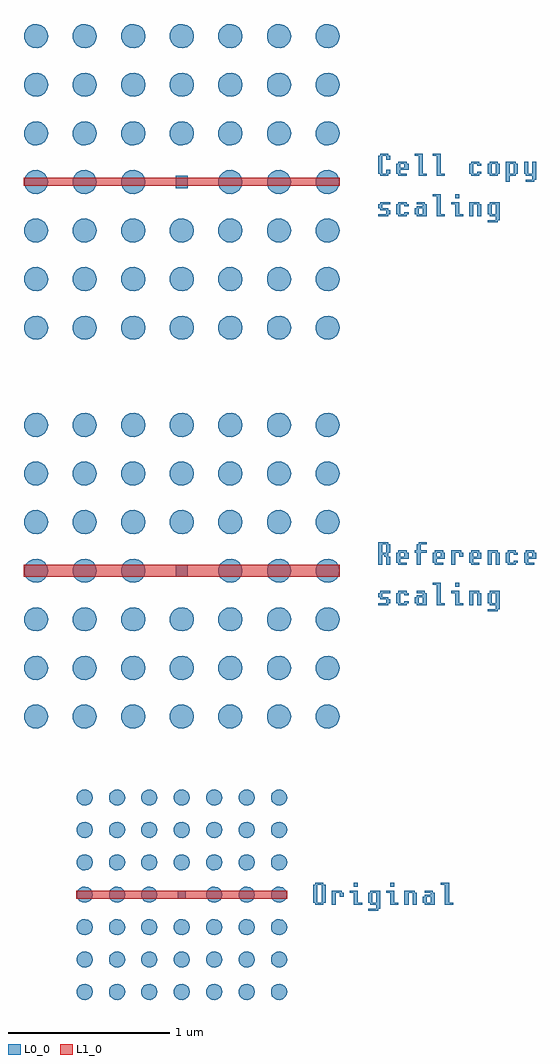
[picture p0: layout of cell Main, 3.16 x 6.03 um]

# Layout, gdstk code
import gdstk
lib = gdstk.Library(unit=1e-6, precision=1e-09)
def R(c, l, rs):  # rectangles x0, y0, x1, y1
    for r in rs: c.add(gdstk.rectangle(r[:2], r[2:], *l))
def P(c, l, *ps):  # polygons
    for p in ps: c.add(gdstk.Polygon(p, *l))
L0_0 = (0, 0)
L1_0 = (1, 0)

unit_cell = lib.new_cell('Unit Cell')
P(unit_cell, L0_0, [(0.05,0),(0.047,0.018),(0.037,0.034),(0.022,0.045),(0.005,0.05),(-0.014,0.048),(-0.03,0.04),(-0.043,0.026),(-0.049,0.009),(-0.049,-0.009),(-0.043,-0.026),(-0.03,-0.04),(-0.014,-0.048),(0.005,-0.05),(0.022,-0.045),(0.037,-0.034),(0.047,-0.018)])

resonator = lib.new_cell('Resonator')
R(resonator, L0_0, [(-0.025,-0.025,0.025,0.025)])
resonator.add(gdstk.FlexPath([(-0.6,0),(0.6,0)], 0.05, ends=(0.05, 0.05), simple_path=True, layer=1, datatype=0))  # L1_0
r = gdstk.Reference(unit_cell, (-0.6,-0.6)); r.repetition = gdstk.Repetition(7, 3, v1=(0.2,0), v2=(0,0.2)); resonator.add(r)
r = gdstk.Reference(unit_cell, (-0.6,0.2)); r.repetition = gdstk.Repetition(7, 3, v1=(0.2,0), v2=(0,0.2)); resonator.add(r)
r = gdstk.Reference(unit_cell, (-0.6,0)); r.repetition = gdstk.Repetition(3, 1, v1=(0.2,0), v2=(0,0.2)); resonator.add(r)
r = gdstk.Reference(unit_cell, (0.2,0)); r.repetition = gdstk.Repetition(3, 1, v1=(0.2,0), v2=(0,0.2)); resonator.add(r)

resonator_copy = lib.new_cell('Resonator Copy')
R(resonator_copy, L0_0, [(-0.038,-0.038,0.038,0.038)])
resonator_copy.add(gdstk.FlexPath([(-0.9,0),(0.9,0)], 0.05, ends=(0.075, 0.075), simple_path=True, layer=1, datatype=0))  # L1_0
r = gdstk.Reference(unit_cell, (-0.9,-0.9), magnification=1.5); r.repetition = gdstk.Repetition(7, 3, v1=(0.3,0), v2=(0,0.3)); resonator_copy.add(r)
r = gdstk.Reference(unit_cell, (-0.9,0.3), magnification=1.5); r.repetition = gdstk.Repetition(7, 3, v1=(0.3,0), v2=(0,0.3)); resonator_copy.add(r)
r = gdstk.Reference(unit_cell, (-0.9,0), magnification=1.5); r.repetition = gdstk.Repetition(3, 1, v1=(0.3,0), v2=(0,0.3)); resonator_copy.add(r)
r = gdstk.Reference(unit_cell, (0.3,0), magnification=1.5); r.repetition = gdstk.Repetition(3, 1, v1=(0.3,0), v2=(0,0.3)); resonator_copy.add(r)

main = lib.new_cell('Main')
R(main, L0_0, [(1.063,0.05,1.088,0.075), (1.288,0.05,1.313,0.075), (1.688,1.9,1.713,1.925), (1.688,4.3,1.713,4.325)])
P(main, L0_0, [(0.888,0.062),(0.875,0.062),(0.875,0.075),(0.825,0.075),(0.825,0.062),(0.812,0.062),(0.812,-0.05),(0.837,-0.05),(0.837,0.062),(0.863,0.062),(0.863,-0.05),(0.837,-0.05),(0.812,-0.05),(0.825,-0.05),(0.825,-0.062),(0.875,-0.062),(0.875,-0.05),(0.888,-0.05)],
  [(0.95,-0.062),(0.95,0.012),(0.975,0.012),(0.975,-0.012),(1,-0.012),(1,0.012),(0.987,0.012),(0.987,0.025),(0.925,0.025),(0.925,-0.062)],
  [(1.063,-0.062),(1.113,-0.062),(1.113,-0.05),(1.088,-0.05),(1.088,0.025),(1.038,0.025),(1.038,0.012),(1.063,0.012)],
  [(1.2,-0.088),(1.15,-0.088),(1.15,-0.1),(1.213,-0.1),(1.213,-0.088),(1.225,-0.088),(1.225,0.025),(1.163,0.025),(1.163,0.012),(1.15,0.012),(1.15,-0.05),(1.175,-0.05),(1.175,0.012),(1.2,0.012),(1.2,-0.05),(1.175,-0.05),(1.15,-0.05),(1.163,-0.05),(1.163,-0.062),(1.2,-0.062)],
  [(1.288,-0.062),(1.338,-0.062),(1.338,-0.05),(1.313,-0.05),(1.313,0.025),(1.263,0.025),(1.263,0.012),(1.288,0.012)],
  [(1.4,-0.062),(1.4,0.012),(1.425,0.012),(1.425,-0.062),(1.45,-0.062),(1.45,0.012),(1.438,0.012),(1.438,0.025),(1.375,0.025),(1.375,-0.062)],
  [(1.55,0.012),(1.55,0.025),(1.5,0.025),(1.5,0.012),(1.538,0.012),(1.538,0),(1.5,0),(1.5,-0.012),(1.488,-0.012),(1.488,-0.05),(1.513,-0.05),(1.513,-0.012),(1.538,-0.012),(1.538,-0.05),(1.513,-0.05),(1.488,-0.05),(1.5,-0.05),(1.5,-0.062),(1.563,-0.062),(1.563,0.012)],
  [(1.625,-0.062),(1.675,-0.062),(1.675,-0.05),(1.65,-0.05),(1.65,0.075),(1.6,0.075),(1.6,0.062),(1.625,0.062)],
  [(1.238,2.037),(1.238,2.1),(1.25,2.1),(1.25,2.087),(1.263,2.087),(1.263,2.037),(1.288,2.037),(1.288,2.087),(1.275,2.087),(1.275,2.112),(1.288,2.112),(1.288,2.163),(1.275,2.163),(1.275,2.175),(1.213,2.175),(1.213,2.112),(1.238,2.112),(1.238,2.163),(1.263,2.163),(1.263,2.112),(1.238,2.112),(1.213,2.112),(1.213,2.037)],
  [(1.338,2.05),(1.338,2.037),(1.388,2.037),(1.388,2.05),(1.35,2.05),(1.35,2.075),(1.4,2.075),(1.4,2.112),(1.388,2.112),(1.388,2.125),(1.338,2.125),(1.338,2.112),(1.325,2.112),(1.325,2.087),(1.35,2.087),(1.35,2.112),(1.375,2.112),(1.375,2.087),(1.35,2.087),(1.325,2.087),(1.325,2.05)],
  [(1.45,2.125),(1.438,2.125),(1.438,2.112),(1.45,2.112),(1.45,2.037),(1.475,2.037),(1.475,2.112),(1.513,2.112),(1.513,2.125),(1.475,2.125),(1.475,2.163),(1.513,2.163),(1.513,2.175),(1.463,2.175),(1.463,2.163),(1.45,2.163)],
  [(1.563,2.05),(1.563,2.037),(1.613,2.037),(1.613,2.05),(1.575,2.05),(1.575,2.075),(1.625,2.075),(1.625,2.112),(1.613,2.112),(1.613,2.125),(1.563,2.125),(1.563,2.112),(1.55,2.112),(1.55,2.087),(1.575,2.087),(1.575,2.112),(1.6,2.112),(1.6,2.087),(1.575,2.087),(1.55,2.087),(1.55,2.05)],
  [(1.688,2.037),(1.688,2.112),(1.713,2.112),(1.713,2.087),(1.738,2.087),(1.738,2.112),(1.725,2.112),(1.725,2.125),(1.663,2.125),(1.663,2.037)],
  [(1.788,2.05),(1.788,2.037),(1.838,2.037),(1.838,2.05),(1.8,2.05),(1.8,2.075),(1.85,2.075),(1.85,2.112),(1.838,2.112),(1.838,2.125),(1.788,2.125),(1.788,2.112),(1.775,2.112),(1.775,2.087),(1.8,2.087),(1.8,2.112),(1.825,2.112),(1.825,2.087),(1.8,2.087),(1.775,2.087),(1.775,2.05)],
  [(1.913,2.037),(1.913,2.112),(1.938,2.112),(1.938,2.037),(1.963,2.037),(1.963,2.112),(1.95,2.112),(1.95,2.125),(1.888,2.125),(1.888,2.037)],
  [(2,2.05),(2.013,2.05),(2.013,2.037),(2.063,2.037),(2.063,2.05),(2.075,2.05),(2.075,2.062),(2.05,2.062),(2.05,2.05),(2.025,2.05),(2.025,2.112),(2.05,2.112),(2.05,2.1),(2.075,2.1),(2.075,2.112),(2.063,2.112),(2.063,2.125),(2.013,2.125),(2.013,2.112),(2,2.112)],
  [(2.125,2.05),(2.125,2.037),(2.175,2.037),(2.175,2.05),(2.138,2.05),(2.138,2.075),(2.188,2.075),(2.188,2.112),(2.175,2.112),(2.175,2.125),(2.125,2.125),(2.125,2.112),(2.113,2.112),(2.113,2.087),(2.138,2.087),(2.138,2.112),(2.163,2.112),(2.163,2.087),(2.138,2.087),(2.113,2.087),(2.113,2.05)],
  [(1.213,1.837),(1.225,1.837),(1.225,1.825),(1.263,1.825),(1.263,1.8),(1.213,1.8),(1.213,1.787),(1.275,1.787),(1.275,1.8),(1.288,1.8),(1.288,1.825),(1.275,1.825),(1.275,1.837),(1.238,1.837),(1.238,1.862),(1.288,1.862),(1.288,1.875),(1.225,1.875),(1.225,1.862),(1.213,1.862)],
  [(1.325,1.8),(1.338,1.8),(1.338,1.787),(1.388,1.787),(1.388,1.8),(1.4,1.8),(1.4,1.812),(1.375,1.812),(1.375,1.8),(1.35,1.8),(1.35,1.862),(1.375,1.862),(1.375,1.85),(1.4,1.85),(1.4,1.862),(1.388,1.862),(1.388,1.875),(1.338,1.875),(1.338,1.862),(1.325,1.862)],
  [(1.5,1.862),(1.5,1.875),(1.45,1.875),(1.45,1.862),(1.488,1.862),(1.488,1.85),(1.45,1.85),(1.45,1.837),(1.438,1.837),(1.438,1.8),(1.463,1.8),(1.463,1.837),(1.488,1.837),(1.488,1.8),(1.463,1.8),(1.438,1.8),(1.45,1.8),(1.45,1.787),(1.513,1.787),(1.513,1.862)],
  [(1.575,1.787),(1.625,1.787),(1.625,1.8),(1.6,1.8),(1.6,1.925),(1.55,1.925),(1.55,1.912),(1.575,1.912)],
  [(1.688,1.787),(1.738,1.787),(1.738,1.8),(1.713,1.8),(1.713,1.875),(1.663,1.875),(1.663,1.862),(1.688,1.862)],
  [(1.8,1.787),(1.8,1.862),(1.825,1.862),(1.825,1.787),(1.85,1.787),(1.85,1.862),(1.838,1.862),(1.838,1.875),(1.775,1.875),(1.775,1.787)],
  [(1.938,1.762),(1.888,1.762),(1.888,1.75),(1.95,1.75),(1.95,1.762),(1.963,1.762),(1.963,1.875),(1.9,1.875),(1.9,1.862),(1.888,1.862),(1.888,1.8),(1.913,1.8),(1.913,1.862),(1.938,1.862),(1.938,1.8),(1.913,1.8),(1.888,1.8),(1.9,1.8),(1.9,1.787),(1.938,1.787)],
  [(1.213,4.45),(1.225,4.45),(1.225,4.437),(1.275,4.437),(1.275,4.45),(1.288,4.45),(1.288,4.475),(1.263,4.475),(1.263,4.45),(1.238,4.45),(1.238,4.562),(1.263,4.562),(1.263,4.538),(1.288,4.538),(1.288,4.562),(1.275,4.562),(1.275,4.575),(1.225,4.575),(1.225,4.562),(1.213,4.562)],
  [(1.338,4.45),(1.338,4.437),(1.388,4.437),(1.388,4.45),(1.35,4.45),(1.35,4.475),(1.4,4.475),(1.4,4.513),(1.388,4.513),(1.388,4.525),(1.338,4.525),(1.338,4.513),(1.325,4.513),(1.325,4.488),(1.35,4.488),(1.35,4.513),(1.375,4.513),(1.375,4.488),(1.35,4.488),(1.325,4.488),(1.325,4.45)],
  [(1.463,4.437),(1.513,4.437),(1.513,4.45),(1.488,4.45),(1.488,4.575),(1.438,4.575),(1.438,4.562),(1.463,4.562)],
  [(1.575,4.437),(1.625,4.437),(1.625,4.45),(1.6,4.45),(1.6,4.575),(1.55,4.575),(1.55,4.562),(1.575,4.562)],
  [(1.775,4.45),(1.788,4.45),(1.788,4.437),(1.838,4.437),(1.838,4.45),(1.85,4.45),(1.85,4.463),(1.825,4.463),(1.825,4.45),(1.8,4.45),(1.8,4.513),(1.825,4.513),(1.825,4.5),(1.85,4.5),(1.85,4.513),(1.838,4.513),(1.838,4.525),(1.788,4.525),(1.788,4.513),(1.775,4.513)],
  [(1.963,4.513),(1.95,4.513),(1.95,4.525),(1.9,4.525),(1.9,4.513),(1.888,4.513),(1.888,4.45),(1.913,4.45),(1.913,4.513),(1.938,4.513),(1.938,4.45),(1.913,4.45),(1.888,4.45),(1.9,4.45),(1.9,4.437),(1.95,4.437),(1.95,4.45),(1.963,4.45)],
  [(2.025,4.4),(2.025,4.437),(2.063,4.437),(2.063,4.45),(2.075,4.45),(2.075,4.513),(2.063,4.513),(2.063,4.525),(2,4.525),(2,4.45),(2.025,4.45),(2.025,4.513),(2.05,4.513),(2.05,4.45),(2.025,4.45),(2,4.45),(2,4.4)],
  [(2.125,4.45),(2.125,4.437),(2.163,4.437),(2.163,4.413),(2.125,4.413),(2.125,4.4),(2.175,4.4),(2.175,4.413),(2.188,4.413),(2.188,4.525),(2.163,4.525),(2.163,4.45),(2.138,4.45),(2.138,4.525),(2.113,4.525),(2.113,4.45)],
  [(1.213,4.238),(1.225,4.238),(1.225,4.225),(1.263,4.225),(1.263,4.2),(1.213,4.2),(1.213,4.187),(1.275,4.187),(1.275,4.2),(1.288,4.2),(1.288,4.225),(1.275,4.225),(1.275,4.238),(1.238,4.238),(1.238,4.263),(1.288,4.263),(1.288,4.275),(1.225,4.275),(1.225,4.263),(1.213,4.263)],
  [(1.325,4.2),(1.338,4.2),(1.338,4.187),(1.388,4.187),(1.388,4.2),(1.4,4.2),(1.4,4.213),(1.375,4.213),(1.375,4.2),(1.35,4.2),(1.35,4.263),(1.375,4.263),(1.375,4.25),(1.4,4.25),(1.4,4.263),(1.388,4.263),(1.388,4.275),(1.338,4.275),(1.338,4.263),(1.325,4.263)],
  [(1.5,4.263),(1.5,4.275),(1.45,4.275),(1.45,4.263),(1.488,4.263),(1.488,4.25),(1.45,4.25),(1.45,4.238),(1.438,4.238),(1.438,4.2),(1.463,4.2),(1.463,4.238),(1.488,4.238),(1.488,4.2),(1.463,4.2),(1.438,4.2),(1.45,4.2),(1.45,4.187),(1.513,4.187),(1.513,4.263)],
  [(1.575,4.187),(1.625,4.187),(1.625,4.2),(1.6,4.2),(1.6,4.325),(1.55,4.325),(1.55,4.312),(1.575,4.312)],
  [(1.688,4.187),(1.738,4.187),(1.738,4.2),(1.713,4.2),(1.713,4.275),(1.663,4.275),(1.663,4.263),(1.688,4.263)],
  [(1.8,4.187),(1.8,4.263),(1.825,4.263),(1.825,4.187),(1.85,4.187),(1.85,4.263),(1.838,4.263),(1.838,4.275),(1.775,4.275),(1.775,4.187)],
  [(1.938,4.163),(1.888,4.163),(1.888,4.15),(1.95,4.15),(1.95,4.163),(1.963,4.163),(1.963,4.275),(1.9,4.275),(1.9,4.263),(1.888,4.263),(1.888,4.2),(1.913,4.2),(1.913,4.263),(1.938,4.263),(1.938,4.2),(1.913,4.2),(1.888,4.2),(1.9,4.2),(1.9,4.187),(1.938,4.187)])
main.add(gdstk.Reference(resonator, (0,0)))
main.add(gdstk.Reference(resonator, (0,2), magnification=1.5))
main.add(gdstk.Reference(resonator_copy, (0,4.4)))

lib.write_gds('Main.gds')
